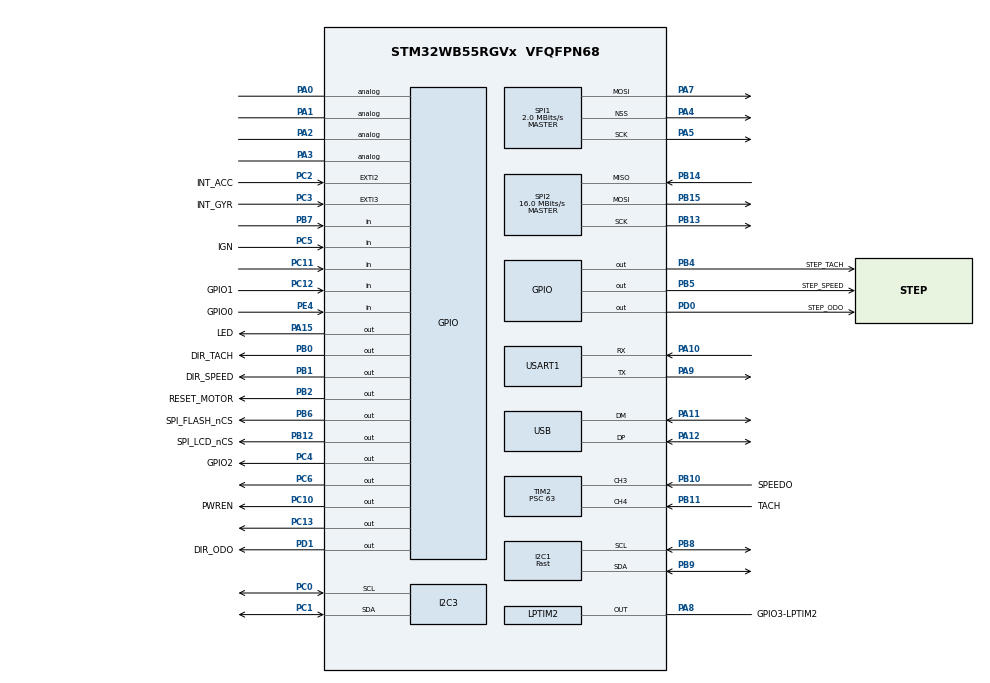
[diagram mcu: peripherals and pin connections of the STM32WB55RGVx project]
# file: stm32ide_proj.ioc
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Dma.MEMTOMEM.1.Direction=DMA_MEMORY_TO_MEMORY
Dma.MEMTOMEM.1.EventEnable=DISABLE
Dma.MEMTOMEM.1.Instance=DMA2_Channel1
Dma.MEMTOMEM.1.MemDataAlignment=DMA_MDATAALIGN_WORD
Dma.MEMTOMEM.1.MemInc=DMA_MINC_ENABLE
Dma.MEMTOMEM.1.Mode=DMA_NORMAL
Dma.MEMTOMEM.1.PeriphDataAlignment=DMA_PDATAALIGN_WORD
Dma.MEMTOMEM.1.PeriphInc=DMA_PINC_DISABLE
Dma.MEMTOMEM.1.Polarity=HAL_DMAMUX_REQ_GEN_RISING
Dma.MEMTOMEM.1.Priority=DMA_PRIORITY_LOW
Dma.MEMTOMEM.1.RequestNumber=1
Dma.MEMTOMEM.1.SignalID=NONE
Dma.MEMTOMEM.1.SyncEnable=DISABLE
Dma.MEMTOMEM.1.SyncPolarity=HAL_DMAMUX_SYNC_NO_EVENT
Dma.MEMTOMEM.1.SyncRequestNumber=1
Dma.MEMTOMEM.1.SyncSignalID=NONE
Dma.Request0=SPI2_TX
Dma.Request1=MEMTOMEM
Dma.Request2=TIM1_UP
Dma.SPI2_TX.0.Direction=DMA_MEMORY_TO_PERIPH
Dma.SPI2_TX.0.EventEnable=DISABLE
Dma.SPI2_TX.0.Instance=DMA1_Channel1
Dma.SPI2_TX.0.MemDataAlignment=DMA_MDATAALIGN_BYTE
Dma.SPI2_TX.0.MemInc=DMA_MINC_ENABLE
Dma.SPI2_TX.0.Mode=DMA_NORMAL
Dma.SPI2_TX.0.PeriphDataAlignment=DMA_PDATAALIGN_BYTE
Dma.SPI2_TX.0.PeriphInc=DMA_PINC_DISABLE
Dma.SPI2_TX.0.Polarity=HAL_DMAMUX_REQ_GEN_RISING
Dma.SPI2_TX.0.Priority=DMA_PRIORITY_LOW
Dma.SPI2_TX.0.RequestNumber=1
Dma.SPI2_TX.0.SignalID=NONE
Dma.SPI2_TX.0.SyncEnable=DISABLE
Dma.SPI2_TX.0.SyncPolarity=HAL_DMAMUX_SYNC_NO_EVENT
Dma.SPI2_TX.0.SyncRequestNumber=1
Dma.SPI2_TX.0.SyncSignalID=NONE
Dma.TIM1_UP.2.Direction=DMA_MEMORY_TO_PERIPH
Dma.TIM1_UP.2.EventEnable=DISABLE
Dma.TIM1_UP.2.Instance=DMA1_Channel2
Dma.TIM1_UP.2.MemDataAlignment=DMA_MDATAALIGN_HALFWORD
Dma.TIM1_UP.2.MemInc=DMA_MINC_ENABLE
Dma.TIM1_UP.2.Mode=DMA_CIRCULAR
Dma.TIM1_UP.2.PeriphDataAlignment=DMA_PDATAALIGN_HALFWORD
Dma.TIM1_UP.2.PeriphInc=DMA_PINC_DISABLE
Dma.TIM1_UP.2.Polarity=HAL_DMAMUX_REQ_GEN_RISING
Dma.TIM1_UP.2.Priority=DMA_PRIORITY_LOW
Dma.TIM1_UP.2.RequestNumber=1
Dma.TIM1_UP.2.SignalID=NONE
Dma.TIM1_UP.2.SyncEnable=DISABLE
Dma.TIM1_UP.2.SyncPolarity=HAL_DMAMUX_SYNC_NO_EVENT
Dma.TIM1_UP.2.SyncRequestNumber=1
Dma.TIM1_UP.2.SyncSignalID=NONE
I2C1.Analog_Filter=I2C_ANALOGFILTER_ENABLE
I2C1.CustomTiming=Disabled
I2C1.I2C_Speed_Mode=I2C_Fast
I2C1.NoStretchMode=I2C_NOSTRETCH_DISABLE
I2C1.Timing=0x00C12166
I2C3.Timing=0x10B17DB5
LPTIM2.ClockPrescaler=LPTIM_PRESCALER_DIV128
Mcu.Family=STM32WB
Mcu.Name=STM32WB55RGVx
Mcu.Package=VFQFPN68
NVIC.DMA1_Channel1_IRQn=true\:0\:0\:true\:false\:true\:false\:true\:true
NVIC.DMA1_Channel2_IRQn=true\:0\:0\:false\:false\:true\:false\:true\:true
NVIC.DMA2_Channel1_IRQn=true\:0\:0\:false\:false\:true\:true\:true\:true
NVIC.EXTI2_IRQn=true\:0\:0\:false\:false\:true\:true\:true\:true
NVIC.EXTI3_IRQn=true\:0\:0\:false\:false\:true\:true\:true\:true
NVIC.HSEM_IRQn=true\:0\:0\:false\:false\:true\:false\:true\:true
NVIC.I2C1_ER_IRQn=true\:0\:0\:false\:false\:true\:true\:true\:true
NVIC.I2C1_EV_IRQn=true\:0\:0\:false\:false\:true\:true\:true\:true
NVIC.I2C3_ER_IRQn=true\:0\:0\:false\:false\:true\:true\:true\:true
NVIC.I2C3_EV_IRQn=true\:0\:0\:false\:false\:true\:true\:true\:true
NVIC.IPCC_C1_RX_IRQn=true\:0\:0\:false\:false\:true\:true\:true\:true
NVIC.IPCC_C1_TX_IRQn=true\:0\:0\:false\:false\:true\:true\:true\:true
NVIC.PriorityGroup=NVIC_PRIORITYGROUP_4
NVIC.RCC_IRQn=true\:0\:0\:false\:false\:true\:true\:false\:true
NVIC.TIM1_TRG_COM_TIM17_IRQn=true\:1\:0\:true\:false\:true\:true\:true\:true
NVIC.TIM1_UP_TIM16_IRQn=true\:0\:0\:true\:false\:true\:true\:true\:true
NVIC.TIM2_IRQn=true\:0\:0\:true\:false\:true\:true\:true\:true
NVIC.USART1_IRQn=true\:0\:0\:false\:false\:true\:true\:true\:true
NVIC.USB_LP_IRQn=true\:0\:0\:false\:false\:true\:false\:true\:true
OSC_IN.Mode=HSE-External-Oscillator
OSC_IN.Signal=RCC_OSC_IN
OSC_OUT.Mode=HSE-External-Oscillator
OSC_OUT.Signal=RCC_OSC_OUT
PA0.Signal=SharedAnalog_PA0
PA1.Signal=SharedAnalog_PA1
PA10.Mode=Asynchronous
PA10.Signal=USART1_RX
PA11.Mode=Device
PA11.Signal=USB_DM
PA12.Mode=Device
PA12.Signal=USB_DP
PA13.Mode=Trace_Asynchronous_SW
PA13.Signal=SYS_JTMS-SWDIO
PA14.Mode=Trace_Asynchronous_SW
PA14.Signal=SYS_JTCK-SWCLK
PA15.GPIO_Label=LED
PA15.Signal=GPIO_Output
PA2.Signal=SharedAnalog_PA2
PA3.Signal=SharedAnalog_PA3
PA4.GPIO_PuPd=GPIO_NOPULL
PA4.Mode=NSS_Signal_Hard_Output
PA4.Signal=SPI1_NSS
PA5.Mode=TX_Only_Simplex_Unidirect_Master
PA5.Signal=SPI1_SCK
PA6.Signal=SPI1_MISO
PA7.Mode=TX_Only_Simplex_Unidirect_Master
PA7.Signal=SPI1_MOSI
PA8.GPIO_Label=GPIO3-LPTIM2
PA8.GPIO_PuPd=GPIO_NOPULL
PA8.Mode=WaveformGeneration
PA8.Signal=LPTIM2_OUT
PA9.Mode=Asynchronous
PA9.Signal=USART1_TX
PB0.GPIO_Label=DIR_TACH
PB0.Signal=GPIO_Output
PB1.GPIO_Label=DIR_SPEED
PB1.Signal=GPIO_Output
PB10.GPIO_Label=SPEEDO
PB10.Signal=S_TIM2_CH3
PB11.GPIO_Label=TACH
PB11.Signal=S_TIM2_CH4
PB12.GPIO_Label=SPI_LCD_nCS
PB12.Signal=GPIO_Output
PB13.Mode=Full_Duplex_Master
PB13.Signal=SPI2_SCK
PB14.Mode=Full_Duplex_Master
PB14.Signal=SPI2_MISO
PB15.Mode=Full_Duplex_Master
PB15.Signal=SPI2_MOSI
PB2.GPIO_Label=RESET_MOTOR
PB2.Signal=GPIO_Output
PB3.Mode=Trace_Asynchronous_SW
PB3.Signal=SYS_JTDO-SWO
PB4.GPIO_Label=STEP_TACH
PB4.GPIO_Speed=GPIO_SPEED_FREQ_LOW
PB4.Signal=GPIO_Output
PB5.GPIO_Label=STEP_SPEED
PB5.GPIO_Speed=GPIO_SPEED_FREQ_LOW
PB5.Signal=GPIO_Output
PB6.GPIO_Label=SPI_FLASH_nCS
PB6.Signal=GPIO_Output
PB7.Signal=GPIO_Input
PB8.GPIO_Pu=GPIO_NOPULL
PB8.GPIO_Speed=GPIO_SPEED_FREQ_LOW
PB8.Mode=I2C
PB8.Signal=I2C1_SCL
PB9.GPIO_Pu=GPIO_NOPULL
PB9.GPIO_Speed=GPIO_SPEED_FREQ_LOW
PB9.Mode=I2C
PB9.Signal=I2C1_SDA
PC0.Mode=I2C
PC0.Signal=I2C3_SCL
PC1.Mode=I2C
PC1.Signal=I2C3_SDA
PC10.GPIO_Label=PWREN
PC10.Signal=GPIO_Output
PC11.Signal=GPIO_Input
PC12.GPIO_Label=GPIO1
PC12.Signal=GPIO_Input
PC13.Signal=GPIO_Output
PC14-OSC32_IN.Mode=LSE-External-Oscillator
PC14-OSC32_IN.Signal=RCC_OSC32_IN
PC15-OSC32_OUT.Mode=LSE-External-Oscillator
PC15-OSC32_OUT.Signal=RCC_OSC32_OUT
PC2.GPIO_Label=INT_ACC
PC2.Signal=GPXTI2
PC3.GPIO_Label=INT_GYR
PC3.Signal=GPXTI3
PC4.GPIO_Label=GPIO2
PC4.Signal=GPIO_Output
PC5.GPIO_Label=IGN
PC5.GPIO_PuPd=GPIO_PULLDOWN
PC5.Signal=GPIO_Input
PC6.Signal=GPIO_Output
PD0.GPIO_Label=STEP_ODO
PD0.Signal=GPIO_Output
PD1.GPIO_Label=DIR_ODO
PD1.Signal=GPIO_Output
PE4.GPIO_Label=GPIO0
PE4.Signal=GPIO_Input
ProjectManager.HeapSize=0x200
ProjectManager.StackSize=0x600
ProjectManager.TargetToolchain=STM32CubeIDE
RCC.ADCFreq_Value=48000000
RCC.AHB2CLKDivider=RCC_SYSCLK_DIV2
RCC.AHBFreq_Value=64000000
RCC.APB1Freq_Value=64000000
RCC.APB1TimFreq_Value=64000000
RCC.APB2Freq_Value=64000000
RCC.APB2TimFreq_Value=64000000
RCC.APB3Freq_Value=16000000
RCC.Cortex2_Div=SYSTICK_CLKSOURCE_HCLK_DIV8
RCC.CortexFreq_Value=64000000
RCC.HCLKFreq_Value=64000000
RCC.HSE_VALUE=32000000
RCC.HSI48_VALUE=48000000
RCC.HSI_VALUE=16000000
RCC.PLLN=32
RCC.PLLSAI1N=24
RCC.RTCClockSelection=RCC_RTCCLKSOURCE_LSE
RCC.SYSCLKFreq_VALUE=64000000
RCC.SYSCLKSource=RCC_SYSCLKSOURCE_PLLCLK
RCC.USBFreq_Value=48000000
RCC.VCOOutputFreq_Value=128000000
RF1.Mode=RF1_Activate
RF1.Signal=RF_RF1
SH.S_TIM2_CH3.0=TIM2_CH3,Input_Capture3_from_TI3
SH.S_TIM2_CH4.0=TIM2_CH4,Input_Capture4_from_TI4
SH.SharedAnalog_PA0.0=GPIO_Analog
SH.SharedAnalog_PA0.1=ADC1_IN5
SH.SharedAnalog_PA1.0=GPIO_Analog
SH.SharedAnalog_PA1.1=ADC1_IN6
SH.SharedAnalog_PA2.0=GPIO_Analog
SH.SharedAnalog_PA2.1=ADC1_IN7
SH.SharedAnalog_PA3.0=GPIO_Analog
SH.SharedAnalog_PA3.1=ADC1_IN8
SPI1.BaudRatePrescaler=SPI_BAUDRATEPRESCALER_32
SPI1.CLKPhase=SPI_PHASE_1EDGE
SPI1.CLKPolarity=SPI_POLARITY_LOW
SPI1.CalculateBaudRate=2.0 MBits/s
SPI1.DataSize=SPI_DATASIZE_16BIT
SPI1.Direction=SPI_DIRECTION_2LINES
SPI1.Mode=SPI_MODE_MASTER
SPI1.VirtualNSS=VM_NSSHARD
SPI1.VirtualType=VM_MASTER
SPI2.BaudRatePrescaler=SPI_BAUDRATEPRESCALER_4
SPI2.CLKPhase=SPI_PHASE_2EDGE
SPI2.CLKPolarity=SPI_POLARITY_HIGH
SPI2.CRCCalculation=SPI_CRCCALCULATION_DISABLE
SPI2.CalculateBaudRate=16.0 MBits/s
SPI2.DataSize=SPI_DATASIZE_8BIT
SPI2.Direction=SPI_DIRECTION_2LINES
SPI2.Mode=SPI_MODE_MASTER
SPI2.VirtualType=VM_MASTER
STM32_WPAN.AD_TYPE_COMPLETE_LOCAL_NAME=3000GT__
STM32_WPAN.AD_TYPE_MANUFACTURER_DATA_1=00
STM32_WPAN.AD_TYPE_MANUFACTURER_DATA_2=00
STM32_WPAN.AD_TYPE_MANUFACTURER_DATA_3=00
STM32_WPAN.AD_TYPE_MANUFACTURER_DATA_4=00
STM32_WPAN.AD_TYPE_MANUFACTURER_DATA_COMMENT_1=SDK VERSION
STM32_WPAN.AD_TYPE_MANUFACTURER_DATA_COMMENT_2=DEVID
STM32_WPAN.AD_TYPE_MANUFACTURER_DATA_COMMENT_3=FIRMWAREID
STM32_WPAN.AD_TYPE_MANUFACTURER_DATA_COMMENT_4=feature 0
STM32_WPAN.AD_TYPE_MANUFACTURER_DATA_COMMENT_5=feature 1
STM32_WPAN.AD_TYPE_MANUFACTURER_DATA_COMMENT_6=feature 2
STM32_WPAN.AD_TYPE_MANUFACTURER_DATA_COMMENT_7=feature 3
STM32_WPAN.AD_TYPE_MANUFACTURER_DATA_NBR=4
STM32_WPAN.AD_TYPE_MANUFACTURER_SPECIFIC_DATA_COMPANY_IDENTIFIER=01,83
STM32_WPAN.CFG_LSCLK_LSE=0
STM32_WPAN.CUSTOM_P2P_SERVER=Disabled
STM32_WPAN.CUSTOM_TEMPLATE=Enabled
STM32_WPAN.INCLUDE_AD_TYPE_COMPLETE_LOCAL_NAME=1
STM32_WPAN.INCLUDE_AD_TYPE_MANUFACTURER_SPECIFIC_DATA=1
STM32_WPAN.NUMBER_OF_SERVICES=3
STM32_WPAN.SERVICE1_CHAR1_GATT_NOTIFY_READ_REQ_AND_WAIT_FOR_APPL_RESP=\ 
STM32_WPAN.SERVICE1_CHAR1_GATT_NOTIFY_WRITE_REQ_AND_WAIT_FOR_APPL_RESP=\ 
STM32_WPAN.SERVICE1_CHAR1_LENGTH_CHARACTERISTIC=CHAR_VALUE_LEN_CONSTANT
STM32_WPAN.SERVICE1_CHAR1_LONG_NAME=buttonPress
STM32_WPAN.SERVICE1_CHAR1_PROP_WRITE=CHAR_PROP_WRITE
STM32_WPAN.SERVICE1_CHAR1_SHORT_NAME=buttonPress
STM32_WPAN.SERVICE1_CHAR1_UUID=00 01
STM32_WPAN.SERVICE1_CHAR1_UUID_TYPE=0x02
STM32_WPAN.SERVICE1_CHAR1_VALUE_LENGTH=20
STM32_WPAN.SERVICE1_CHAR2_GATT_NOTIFY_ATTRIBUTE_WRITE=\ 
STM32_WPAN.SERVICE1_CHAR2_GATT_NOTIFY_READ_REQ_AND_WAIT_FOR_APPL_RESP=GATT_NOTIFY_READ_REQ_AND_WAIT_FOR_APPL_RESP
STM32_WPAN.SERVICE1_CHAR2_GATT_NOTIFY_WRITE_REQ_AND_WAIT_FOR_APPL_RESP=\ 
STM32_WPAN.SERVICE1_CHAR2_LENGTH_CHARACTERISTIC=CHAR_VALUE_LEN_VARIABLE
STM32_WPAN.SERVICE1_CHAR2_LONG_NAME=readChar
STM32_WPAN.SERVICE1_CHAR2_PROP_READ=CHAR_PROP_READ
STM32_WPAN.SERVICE1_CHAR2_SHORT_NAME=readChar
STM32_WPAN.SERVICE1_CHAR2_VALUE_LENGTH=128
STM32_WPAN.SERVICE1_LONG_NAME=UserButtonService
STM32_WPAN.SERVICE1_NUMBER_OF_CHARACTERISTICS=1
STM32_WPAN.SERVICE1_SHORT_NAME=UserButtonService
STM32_WPAN.SERVICE1_UUID_TYPE=0x02
STM32_WPAN.SERVICE2_CHAR1_GATT_NOTIFY_ATTRIBUTE_WRITE=\ 
STM32_WPAN.SERVICE2_CHAR1_GATT_NOTIFY_READ_REQ_AND_WAIT_FOR_APPL_RESP=\ 
STM32_WPAN.SERVICE2_CHAR1_GATT_NOTIFY_WRITE_REQ_AND_WAIT_FOR_APPL_RESP=\ 
STM32_WPAN.SERVICE2_CHAR1_LONG_NAME=readNext
STM32_WPAN.SERVICE2_CHAR1_PROP_NOTIFY=CHAR_PROP_NOTIFY
STM32_WPAN.SERVICE2_CHAR1_PROP_READ=CHAR_PROP_READ
STM32_WPAN.SERVICE2_CHAR1_SHORT_NAME=readNext
STM32_WPAN.SERVICE2_CHAR1_UUID=00 03
STM32_WPAN.SERVICE2_CHAR1_VALUE_LENGTH=64
STM32_WPAN.SERVICE2_LONG_NAME=ClientReadService
STM32_WPAN.SERVICE2_SHORT_NAME=ClientReadService
STM32_WPAN.SERVICE2_UUID=00 02
STM32_WPAN.SERVICE2_UUID_TYPE=0x02
STM32_WPAN.SERVICE3_CHAR1_GATT_NOTIFY_READ_REQ_AND_WAIT_FOR_APPL_RESP=\ 
STM32_WPAN.SERVICE3_CHAR1_GATT_NOTIFY_WRITE_REQ_AND_WAIT_FOR_APPL_RESP=\ 
STM32_WPAN.SERVICE3_CHAR1_LONG_NAME=BM_REQ_CHAR
STM32_WPAN.SERVICE3_CHAR1_PROP_WRITE=CHAR_PROP_WRITE
STM32_WPAN.SERVICE3_CHAR1_SHORT_NAME=BM_REQ_CHAR
STM32_WPAN.SERVICE3_CHAR1_UUID=00 00 FE 11 8E 22 45 41 9D 4C 21 ED AE 82 ED 19
STM32_WPAN.SERVICE3_CHAR1_UUID_128_INPUT_TYPE=1
STM32_WPAN.SERVICE3_CHAR1_VALUE_LENGTH=3
STM32_WPAN.SERVICE3_LONG_NAME=RebootReqService
STM32_WPAN.SERVICE3_SHORT_NAME=RebootReqService
STM32_WPAN.SERVICE3_UUID=0A 00
STM32_WPAN.SERVICE3_UUID_128_INPUT_TYPE=0
TIM1.AutoReloadPreload=TIM_AUTORELOAD_PRELOAD_ENABLE
TIM1.Period=6399
TIM1.Prescaler=0
TIM16.AutoReloadPreload=TIM_AUTORELOAD_PRELOAD_ENABLE
TIM16.Period=31999
TIM16.Prescaler=0
TIM17.AutoReloadPreload=TIM_AUTORELOAD_PRELOAD_DISABLE
TIM17.Period=1000
TIM17.Prescaler=63
TIM2.AutoReloadPreload=TIM_AUTORELOAD_PRELOAD_DISABLE
TIM2.Channel-Input_Capture3_from_TI3=TIM_CHANNEL_3
TIM2.Channel-Input_Capture4_from_TI4=TIM_CHANNEL_4
TIM2.CounterMode=TIM_COUNTERMODE_UP
TIM2.ICFilter_CH3=15
TIM2.ICFilter_CH4=15
TIM2.ICPolarity_CH3=TIM_INPUTCHANNELPOLARITY_FALLING
TIM2.ICPolarity_CH4=TIM_INPUTCHANNELPOLARITY_FALLING
TIM2.Period=0xffffffff-1
TIM2.Prescaler=63
USART1.AutoBaudRateEnableParam=UART_ADVFEATURE_AUTOBAUDRATE_ENABLE
USART1.DataInvertParam=ADVFEATURE_DATAINV_DISABLE
USART1.RxPinLevelInvertParam=ADVFEATURE_RXINV_ENABLE
USART1.TxPinLevelInvertParam=ADVFEATURE_TXINV_ENABLE
USART1.VirtualMode-Asynchronous=VM_ASYNC
USART1.VirtualMode-SmartCard=VM_SMARTCARD
USB_DEVICE.CLASS_NAME_FS=CDC
USB_DEVICE.VirtualMode=Cdc
USB_DEVICE.VirtualModeFS=Cdc_FS
VP_HSEM_VS_HSEM.Mode=HSEM_Activate
VP_IPCC_VS_IPCC.Mode=IPCC_Activate
VP_LPTIM2_VS_LPTIM_counterModeInternalClock.Mode=Counts__internal_clock_event_00
VP_MEMORYMAP_VS_MEMORYMAP.Mode=CurAppReg
VP_RTC_VS_RTC_Activate.Mode=RTC_Enabled
VP_RTC_VS_RTC_WakeUp_intern.Mode=WakeUp
VP_SEQUENCER_VS_SEQUENCER.Mode=SEQUENCER_Enabled
VP_STM32_WPAN_VS_BLE_HOST.Mode=STM32_WPAN_Enabled
VP_SYS_V_PVD_IN.Mode=Mode_PVD_Int
VP_TIM16_VS_ClockSourceINT.Mode=Enable_Timer
VP_TIM17_VS_ClockSourceINT.Mode=Enable_Timer
VP_TIM1_VS_ClockSourceINT.Mode=Internal
VP_TIM2_VS_ClockSourceINT.Mode=Internal
VP_TINY_LPM_VS_TINY_LPM.Mode=TINY_LPM_Enabled
VP_USB_DEVICE_VS_USB_DEVICE_CDC_FS.Mode=CDC_FS
board=custom

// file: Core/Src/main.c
/* USER CODE BEGIN Header */
/**
  ******************************************************************************
  * @file           : main.c
  * @brief          : Main program body
  ******************************************************************************
  * @attention
  *
  * Copyright (c) 2024 STMicroelectronics.
  * All rights reserved.
  *
  * This software is licensed under terms that can be found in the LICENSE file
  * in the root directory of this software component.
  * If no LICENSE file comes with this software, it is provided AS-IS.
  *
  ******************************************************************************
  */
/* USER CODE END Header */
#include "main.h"
#include "usb_device.h"

/* USER CODE BEGIN Includes */
#include "usbd_cdc_if.h"
/* USER CODE END Includes */

I2C_HandleTypeDef hi2c1;
I2C_HandleTypeDef hi2c3;

IPCC_HandleTypeDef hipcc;

LPTIM_HandleTypeDef hlptim2;

RTC_HandleTypeDef hrtc;

SPI_HandleTypeDef hspi1;
SPI_HandleTypeDef hspi2;
DMA_HandleTypeDef hdma_spi2_tx;

TIM_HandleTypeDef htim1;
TIM_HandleTypeDef htim2;
TIM_HandleTypeDef htim16;
TIM_HandleTypeDef htim17;
DMA_HandleTypeDef hdma_tim1_up;

UART_HandleTypeDef huart1;

DMA_HandleTypeDef hdma_memtomem_dma2_channel1;
/* USER CODE BEGIN PV */
extern void main_cpp();
/* USER CODE END PV */

void SystemClock_Config(void);
void PeriphCommonClock_Config(void);
static void MX_GPIO_Init(void);
static void MX_DMA_Init(void);
static void MX_I2C1_Init(void);
static void MX_TIM2_Init(void);
static void MX_TIM16_Init(void);
static void MX_SPI2_Init(void);
static void MX_I2C3_Init(void);
static void MX_USART1_UART_Init(void);
static void MX_RTC_Init(void);
static void MX_IPCC_Init(void);
static void MX_TIM17_Init(void);
static void MX_SPI1_Init(void);
static void MX_TIM1_Init(void);
static void MX_LPTIM2_Init(void);
static void MX_RF_Init(void);

/* USER CODE BEGIN 0 */

void My_MX_USART1_UART_DeInit ()
{
  HAL_UART_DeInit (&huart1);

  GPIO_InitTypeDef GPIO_InitStruct =  { 0 };

  // PA9, uart tx
  GPIO_InitStruct.Pin = GPIO_PIN_9;
  GPIO_InitStruct.Mode = GPIO_MODE_OUTPUT_PP;
  GPIO_InitStruct.Pull = GPIO_PULLDOWN;
  HAL_GPIO_Init (GPIOA, &GPIO_InitStruct);

  // PA10, uart tx
  GPIO_InitStruct.Pin = GPIO_PIN_10;
  GPIO_InitStruct.Mode = GPIO_MODE_INPUT;
  GPIO_InitStruct.Pull = GPIO_NOPULL;
  HAL_GPIO_Init (GPIOA, &GPIO_InitStruct);
}

void My_MX_USART1_UART_Init(int baudrate)
{
  /*
   * this is a copy of the code that the HAL automatically generates.
   *
   * but we made our own version becuase we want to control the baud rate.
   */
  if(baudrate)
  {
    huart1.Instance = USART1;
    huart1.Init.BaudRate = baudrate;
    huart1.Init.WordLength = UART_WORDLENGTH_8B;
    huart1.Init.StopBits = UART_STOPBITS_1;
    huart1.Init.Parity = UART_PARITY_NONE;
    huart1.Init.Mode = UART_MODE_TX_RX;
    huart1.Init.HwFlowCtl = UART_HWCONTROL_NONE;
    huart1.Init.OverSampling = UART_OVERSAMPLING_16;
    huart1.Init.OneBitSampling = UART_ONE_BIT_SAMPLE_DISABLE;
    huart1.Init.ClockPrescaler = UART_PRESCALER_DIV1;
    huart1.AdvancedInit.AdvFeatureInit = UART_ADVFEATURE_TXINVERT_INIT|UART_ADVFEATURE_RXINVERT_INIT;
    huart1.AdvancedInit.TxPinLevelInvert = UART_ADVFEATURE_TXINV_ENABLE;
    huart1.AdvancedInit.RxPinLevelInvert = UART_ADVFEATURE_RXINV_ENABLE;
    if (HAL_UART_Init(&huart1) != HAL_OK)
    {
      Error_Handler();
    }
    if (HAL_UARTEx_SetTxFifoThreshold(&huart1, UART_TXFIFO_THRESHOLD_1_8) != HAL_OK)
    {
      Error_Handler();
    }
    if (HAL_UARTEx_SetRxFifoThreshold(&huart1, UART_RXFIFO_THRESHOLD_1_8) != HAL_OK)
    {
      Error_Handler();
    }
    if (HAL_UARTEx_DisableFifoMode(&huart1) != HAL_OK)
    {
      Error_Handler();
    }
  }
  else
  {
    huart1.Instance = USART1;
    huart1.Init.BaudRate = 115200;
    huart1.Init.WordLength = UART_WORDLENGTH_8B;
    huart1.Init.StopBits = UART_STOPBITS_1;
    huart1.Init.Parity = UART_PARITY_NONE;
    huart1.Init.Mode = UART_MODE_TX_RX;
    huart1.Init.HwFlowCtl = UART_HWCONTROL_NONE;
    huart1.Init.OverSampling = UART_OVERSAMPLING_16;
    huart1.Init.OneBitSampling = UART_ONE_BIT_SAMPLE_DISABLE;
    huart1.Init.ClockPrescaler = UART_PRESCALER_DIV1;
    huart1.AdvancedInit.AdvFeatureInit = UART_ADVFEATURE_TXINVERT_INIT|UART_ADVFEATURE_RXINVERT_INIT
                                |UART_ADVFEATURE_AUTOBAUDRATE_INIT;
    huart1.AdvancedInit.TxPinLevelInvert = UART_ADVFEATURE_TXINV_ENABLE;
    huart1.AdvancedInit.RxPinLevelInvert = UART_ADVFEATURE_RXINV_ENABLE;
    huart1.AdvancedInit.AutoBaudRateEnable = UART_ADVFEATURE_AUTOBAUDRATE_ENABLE;
    huart1.AdvancedInit.AutoBaudRateMode = UART_ADVFEATURE_AUTOBAUDRATE_ONSTARTBIT;
    if (HAL_UART_Init(&huart1) != HAL_OK)
    {
      Error_Handler();
    }
    if (HAL_UARTEx_SetTxFifoThreshold(&huart1, UART_TXFIFO_THRESHOLD_1_8) != HAL_OK)
    {
      Error_Handler();
    }
    if (HAL_UARTEx_SetRxFifoThreshold(&huart1, UART_RXFIFO_THRESHOLD_1_8) != HAL_OK)
    {
      Error_Handler();
    }
    if (HAL_UARTEx_DisableFifoMode(&huart1) != HAL_OK)
    {
      Error_Handler();
    }
  }

}

/* USER CODE END 0 */

int main(void)
{

  /* MCU Configuration--------------------------------------------------------*/

  /* Reset of all peripherals, Initializes the Flash interface and the Systick. */
  HAL_Init();
  /* Config code for STM32_WPAN (HSE Tuning must be done before system clock configuration) */
  MX_APPE_Config();

  /* USER CODE BEGIN Init */

  // allow BLE and USB to coexist
  //https://community.st.com/t5/stm32-mcus-wireless/enabeling-usb-and-ble-on-stm32wb55/td-p/607928
  LL_HSEM_1StepLock(HSEM, CFG_HW_CLK48_CONFIG_SEMID);
  /*
   * uncomment this code to reset the backup domain,
   * which ive had get locked up becuase of CSS.
   */
//  LL_PWR_EnableBkUpAccess ();
//  LL_RCC_ForceBackupDomainReset ();
//  LL_RCC_ReleaseBackupDomainReset ();
  /* USER CODE END Init */

  /* Configure the system clock */
  SystemClock_Config();

  /* Configure the peripherals common clocks */
  PeriphCommonClock_Config();

  /* IPCC initialisation */
  MX_IPCC_Init();

  /* Initialize all configured peripherals */
  MX_GPIO_Init();
  MX_DMA_Init();
  MX_I2C1_Init();
  MX_TIM2_Init();
  MX_TIM16_Init();
  MX_SPI2_Init();
  MX_I2C3_Init();
  MX_USART1_UART_Init();
  MX_RTC_Init();
  MX_TIM17_Init();
  MX_SPI1_Init();
  MX_TIM1_Init();
  MX_USB_Device_Init();
  MX_LPTIM2_Init();
  MX_RF_Init();

  /* Init code for STM32_WPAN */
  MX_APPE_Init();

  /* Infinite loop */
  /* USER CODE BEGIN WHILE */
  main_cpp();
  while (1)
  {
    /* USER CODE END WHILE */
    MX_APPE_Process();

  }
}

void SystemClock_Config(void)
{
  RCC_OscInitTypeDef RCC_OscInitStruct = {0};
  RCC_ClkInitTypeDef RCC_ClkInitStruct = {0};

  /** Configure LSE Drive Capability
  */
  HAL_PWR_EnableBkUpAccess();
  __HAL_RCC_LSEDRIVE_CONFIG(RCC_LSEDRIVE_MEDIUMHIGH);

  /** Configure the main internal regulator output voltage
  */
  __HAL_PWR_VOLTAGESCALING_CONFIG(PWR_REGULATOR_VOLTAGE_SCALE1);

  /** Initializes the RCC Oscillators according to the specified parameters
  * in the RCC_OscInitTypeDef structure.
  */
  RCC_OscInitStruct.OscillatorType = RCC_OSCILLATORTYPE_HSI|RCC_OSCILLATORTYPE_HSE
                              |RCC_OSCILLATORTYPE_LSE|RCC_OSCILLATORTYPE_MSI;
  RCC_OscInitStruct.HSEState = RCC_HSE_ON;
  RCC_OscInitStruct.LSEState = RCC_LSE_ON;
  RCC_OscInitStruct.HSIState = RCC_HSI_ON;
  RCC_OscInitStruct.MSIState = RCC_MSI_ON;
  RCC_OscInitStruct.HSICalibrationValue = RCC_HSICALIBRATION_DEFAULT;
  RCC_OscInitStruct.MSICalibrationValue = RCC_MSICALIBRATION_DEFAULT;
  RCC_OscInitStruct.MSIClockRange = RCC_MSIRANGE_6;
  RCC_OscInitStruct.PLL.PLLState = RCC_PLL_ON;
  RCC_OscInitStruct.PLL.PLLSource = RCC_PLLSOURCE_MSI;
  RCC_OscInitStruct.PLL.PLLM = RCC_PLLM_DIV1;
  RCC_OscInitStruct.PLL.PLLN = 32;
  RCC_OscInitStruct.PLL.PLLP = RCC_PLLP_DIV2;
  RCC_OscInitStruct.PLL.PLLR = RCC_PLLR_DIV2;
  RCC_OscInitStruct.PLL.PLLQ = RCC_PLLQ_DIV2;
  if (HAL_RCC_OscConfig(&RCC_OscInitStruct) != HAL_OK)
  {
    Error_Handler();
  }

  /** Configure the SYSCLKSource, HCLK, PCLK1 and PCLK2 clocks dividers
  */
  RCC_ClkInitStruct.ClockType = RCC_CLOCKTYPE_HCLK4|RCC_CLOCKTYPE_HCLK2
                              |RCC_CLOCKTYPE_HCLK|RCC_CLOCKTYPE_SYSCLK
                              |RCC_CLOCKTYPE_PCLK1|RCC_CLOCKTYPE_PCLK2;
  RCC_ClkInitStruct.SYSCLKSource = RCC_SYSCLKSOURCE_PLLCLK;
  RCC_ClkInitStruct.AHBCLKDivider = RCC_SYSCLK_DIV1;
  RCC_ClkInitStruct.APB1CLKDivider = RCC_HCLK_DIV1;
  RCC_ClkInitStruct.APB2CLKDivider = RCC_HCLK_DIV1;
  RCC_ClkInitStruct.AHBCLK2Divider = RCC_SYSCLK_DIV2;
  RCC_ClkInitStruct.AHBCLK4Divider = RCC_SYSCLK_DIV1;

  if (HAL_RCC_ClockConfig(&RCC_ClkInitStruct, FLASH_LATENCY_3) != HAL_OK)
  {
    Error_Handler();
  }

  /** Enable MSI Auto calibration
  */
  HAL_RCCEx_EnableMSIPLLMode();
}

void PeriphCommonClock_Config(void)
{
  RCC_PeriphCLKInitTypeDef PeriphClkInitStruct = {0};

  /** Initializes the peripherals clock
  */
  PeriphClkInitStruct.PeriphClockSelection = RCC_PERIPHCLK_SMPS|RCC_PERIPHCLK_RFWAKEUP;
  PeriphClkInitStruct.RFWakeUpClockSelection = RCC_RFWKPCLKSOURCE_HSE_DIV1024;
  PeriphClkInitStruct.SmpsClockSelection = RCC_SMPSCLKSOURCE_HSI;
  PeriphClkInitStruct.SmpsDivSelection = RCC_SMPSCLKDIV_RANGE1;

  if (HAL_RCCEx_PeriphCLKConfig(&PeriphClkInitStruct) != HAL_OK)
  {
    Error_Handler();
  }
  /* USER CODE BEGIN Smps */
//#ifndef CLOCK_FIX
//#error need to add clock fix
//   #define CLOCK_FIX
//   LL_HSEM_1StepLock( HSEM, 5 );
//#endif
  /* USER CODE END Smps */
}

static void MX_I2C1_Init(void)
{

  hi2c1.Instance = I2C1;
  hi2c1.Init.Timing = 0x00C12166;
  hi2c1.Init.OwnAddress1 = 0;
  hi2c1.Init.AddressingMode = I2C_ADDRESSINGMODE_7BIT;
  hi2c1.Init.DualAddressMode = I2C_DUALADDRESS_DISABLE;
  hi2c1.Init.OwnAddress2 = 0;
  hi2c1.Init.OwnAddress2Masks = I2C_OA2_NOMASK;
  hi2c1.Init.GeneralCallMode = I2C_GENERALCALL_DISABLE;
  hi2c1.Init.NoStretchMode = I2C_NOSTRETCH_DISABLE;
  if (HAL_I2C_Init(&hi2c1) != HAL_OK)
  {
    Error_Handler();
  }

  /** Configure Analogue filter
  */
  if (HAL_I2CEx_ConfigAnalogFilter(&hi2c1, I2C_ANALOGFILTER_ENABLE) != HAL_OK)
  {
    Error_Handler();
  }

  /** Configure Digital filter
  */
  if (HAL_I2CEx_ConfigDigitalFilter(&hi2c1, 0) != HAL_OK)
  {
    Error_Handler();
  }

}

static void MX_I2C3_Init(void)
{

  hi2c3.Instance = I2C3;
  hi2c3.Init.Timing = 0x10B17DB5;
  hi2c3.Init.OwnAddress1 = 0;
  hi2c3.Init.AddressingMode = I2C_ADDRESSINGMODE_7BIT;
  hi2c3.Init.DualAddressMode = I2C_DUALADDRESS_DISABLE;
  hi2c3.Init.OwnAddress2 = 0;
  hi2c3.Init.OwnAddress2Masks = I2C_OA2_NOMASK;
  hi2c3.Init.GeneralCallMode = I2C_GENERALCALL_DISABLE;
  hi2c3.Init.NoStretchMode = I2C_NOSTRETCH_DISABLE;
  if (HAL_I2C_Init(&hi2c3) != HAL_OK)
  {
    Error_Handler();
  }

  /** Configure Analogue filter
  */
  if (HAL_I2CEx_ConfigAnalogFilter(&hi2c3, I2C_ANALOGFILTER_ENABLE) != HAL_OK)
  {
    Error_Handler();
  }

  /** Configure Digital filter
  */
  if (HAL_I2CEx_ConfigDigitalFilter(&hi2c3, 0) != HAL_OK)
  {
    Error_Handler();
  }

}

static void MX_IPCC_Init(void)
{

  hipcc.Instance = IPCC;
  if (HAL_IPCC_Init(&hipcc) != HAL_OK)
  {
    Error_Handler();
  }

}

static void MX_LPTIM2_Init(void)
{

  hlptim2.Instance = LPTIM2;
  hlptim2.Init.Clock.Source = LPTIM_CLOCKSOURCE_APBCLOCK_LPOSC;
  hlptim2.Init.Clock.Prescaler = LPTIM_PRESCALER_DIV128;
  hlptim2.Init.Trigger.Source = LPTIM_TRIGSOURCE_SOFTWARE;
  hlptim2.Init.OutputPolarity = LPTIM_OUTPUTPOLARITY_HIGH;
  hlptim2.Init.UpdateMode = LPTIM_UPDATE_IMMEDIATE;
  hlptim2.Init.CounterSource = LPTIM_COUNTERSOURCE_INTERNAL;
  hlptim2.Init.Input1Source = LPTIM_INPUT1SOURCE_GPIO;
  hlptim2.Init.Input2Source = LPTIM_INPUT2SOURCE_GPIO;
  if (HAL_LPTIM_Init(&hlptim2) != HAL_OK)
  {
    Error_Handler();
  }

}

static void MX_RF_Init(void)
{

}

static void MX_RTC_Init(void)
{

  /** Initialize RTC Only
  */
  hrtc.Instance = RTC;
  hrtc.Init.HourFormat = RTC_HOURFORMAT_24;
  hrtc.Init.AsynchPrediv = CFG_RTC_ASYNCH_PRESCALER;
  hrtc.Init.SynchPrediv = CFG_RTC_SYNCH_PRESCALER;
  hrtc.Init.OutPut = RTC_OUTPUT_DISABLE;
  hrtc.Init.OutPutPolarity = RTC_OUTPUT_POLARITY_HIGH;
  hrtc.Init.OutPutType = RTC_OUTPUT_TYPE_OPENDRAIN;
  hrtc.Init.OutPutRemap = RTC_OUTPUT_REMAP_NONE;
  if (HAL_RTC_Init(&hrtc) != HAL_OK)
  {
    Error_Handler();
  }

  /** Enable the WakeUp
  */
  if (HAL_RTCEx_SetWakeUpTimer(&hrtc, 0, RTC_WAKEUPCLOCK_RTCCLK_DIV16) != HAL_OK)
  {
    Error_Handler();
  }

}

static void MX_SPI1_Init(void)
{

  /* SPI1 parameter configuration*/
  hspi1.Instance = SPI1;
  hspi1.Init.Mode = SPI_MODE_MASTER;
  hspi1.Init.Direction = SPI_DIRECTION_2LINES;
  hspi1.Init.DataSize = SPI_DATASIZE_16BIT;
  hspi1.Init.CLKPolarity = SPI_POLARITY_LOW;
  hspi1.Init.CLKPhase = SPI_PHASE_1EDGE;
  hspi1.Init.NSS = SPI_NSS_HARD_OUTPUT;
  hspi1.Init.BaudRatePrescaler = SPI_BAUDRATEPRESCALER_32;
  hspi1.Init.FirstBit = SPI_FIRSTBIT_MSB;
  hspi1.Init.TIMode = SPI_TIMODE_DISABLE;
  hspi1.Init.CRCCalculation = SPI_CRCCALCULATION_DISABLE;
  hspi1.Init.CRCPolynomial = 7;
  hspi1.Init.CRCLength = SPI_CRC_LENGTH_DATASIZE;
  hspi1.Init.NSSPMode = SPI_NSS_PULSE_ENABLE;
  if (HAL_SPI_Init(&hspi1) != HAL_OK)
  {
    Error_Handler();
  }

}

static void MX_SPI2_Init(void)
{

  /* SPI2 parameter configuration*/
  hspi2.Instance = SPI2;
  hspi2.Init.Mode = SPI_MODE_MASTER;
  hspi2.Init.Direction = SPI_DIRECTION_2LINES;
  hspi2.Init.DataSize = SPI_DATASIZE_8BIT;
  hspi2.Init.CLKPolarity = SPI_POLARITY_HIGH;
  hspi2.Init.CLKPhase = SPI_PHASE_2EDGE;
  hspi2.Init.NSS = SPI_NSS_SOFT;
  hspi2.Init.BaudRatePrescaler = SPI_BAUDRATEPRESCALER_4;
  hspi2.Init.FirstBit = SPI_FIRSTBIT_MSB;
  hspi2.Init.TIMode = SPI_TIMODE_DISABLE;
  hspi2.Init.CRCCalculation = SPI_CRCCALCULATION_DISABLE;
  hspi2.Init.CRCPolynomial = 7;
  hspi2.Init.CRCLength = SPI_CRC_LENGTH_DATASIZE;
  hspi2.Init.NSSPMode = SPI_NSS_PULSE_DISABLE;
  if (HAL_SPI_Init(&hspi2) != HAL_OK)
  {
    Error_Handler();
  }

}

static void MX_TIM1_Init(void)
{

  TIM_ClockConfigTypeDef sClockSourceConfig = {0};
  TIM_MasterConfigTypeDef sMasterConfig = {0};

  htim1.Instance = TIM1;
  htim1.Init.Prescaler = 0;
  htim1.Init.CounterMode = TIM_COUNTERMODE_UP;
  htim1.Init.Period = 6399;
  htim1.Init.ClockDivision = TIM_CLOCKDIVISION_DIV1;
  htim1.Init.RepetitionCounter = 0;
  htim1.Init.AutoReloadPreload = TIM_AUTORELOAD_PRELOAD_ENABLE;
  if (HAL_TIM_Base_Init(&htim1) != HAL_OK)
  {
    Error_Handler();
  }
  sClockSourceConfig.ClockSource = TIM_CLOCKSOURCE_INTERNAL;
  if (HAL_TIM_ConfigClockSource(&htim1, &sClockSourceConfig) != HAL_OK)
  {
    Error_Handler();
  }
  sMasterConfig.MasterOutputTrigger = TIM_TRGO_RESET;
  sMasterConfig.MasterOutputTrigger2 = TIM_TRGO2_RESET;
  sMasterConfig.MasterSlaveMode = TIM_MASTERSLAVEMODE_DISABLE;
  if (HAL_TIMEx_MasterConfigSynchronization(&htim1, &sMasterConfig) != HAL_OK)
  {
    Error_Handler();
  }

}

static void MX_TIM2_Init(void)
{

  TIM_ClockConfigTypeDef sClockSourceConfig = {0};
  TIM_MasterConfigTypeDef sMasterConfig = {0};
  TIM_IC_InitTypeDef sConfigIC = {0};

  htim2.Instance = TIM2;
  htim2.Init.Prescaler = 63;
  htim2.Init.CounterMode = TIM_COUNTERMODE_UP;
  htim2.Init.Period = 0xffffffff-1;
  htim2.Init.ClockDivision = TIM_CLOCKDIVISION_DIV1;
  htim2.Init.AutoReloadPreload = TIM_AUTORELOAD_PRELOAD_DISABLE;
  if (HAL_TIM_Base_Init(&htim2) != HAL_OK)
  {
    Error_Handler();
  }
  sClockSourceConfig.ClockSource = TIM_CLOCKSOURCE_INTERNAL;
  if (HAL_TIM_ConfigClockSource(&htim2, &sClockSourceConfig) != HAL_OK)
  {
    Error_Handler();
  }
  if (HAL_TIM_IC_Init(&htim2) != HAL_OK)
  {
    Error_Handler();
  }
  sMasterConfig.MasterOutputTrigger = TIM_TRGO_RESET;
  sMasterConfig.MasterSlaveMode = TIM_MASTERSLAVEMODE_DISABLE;
  if (HAL_TIMEx_MasterConfigSynchronization(&htim2, &sMasterConfig) != HAL_OK)
  {
    Error_Handler();
  }
  sConfigIC.ICPolarity = TIM_INPUTCHANNELPOLARITY_FALLING;
  sConfigIC.ICSelection = TIM_ICSELECTION_DIRECTTI;
  sConfigIC.ICPrescaler = TIM_ICPSC_DIV1;
  sConfigIC.ICFilter = 15;
  if (HAL_TIM_IC_ConfigChannel(&htim2, &sConfigIC, TIM_CHANNEL_3) != HAL_OK)
  {
    Error_Handler();
  }
  if (HAL_TIM_IC_ConfigChannel(&htim2, &sConfigIC, TIM_CHANNEL_4) != HAL_OK)
  {
    Error_Handler();
  }

}

static void MX_TIM16_Init(void)
{

  htim16.Instance = TIM16;
  htim16.Init.Prescaler = 0;
  htim16.Init.CounterMode = TIM_COUNTERMODE_UP;
  htim16.Init.Period = 31999;
  htim16.Init.ClockDivision = TIM_CLOCKDIVISION_DIV1;
  htim16.Init.RepetitionCounter = 0;
  htim16.Init.AutoReloadPreload = TIM_AUTORELOAD_PRELOAD_ENABLE;
  if (HAL_TIM_Base_Init(&htim16) != HAL_OK)
  {
    Error_Handler();
  }

}

static void MX_TIM17_Init(void)
{

  htim17.Instance = TIM17;
  htim17.Init.Prescaler = 63;
  htim17.Init.CounterMode = TIM_COUNTERMODE_UP;
  htim17.Init.Period = 1000;
  htim17.Init.ClockDivision = TIM_CLOCKDIVISION_DIV1;
  htim17.Init.RepetitionCounter = 0;
  htim17.Init.AutoReloadPreload = TIM_AUTORELOAD_PRELOAD_DISABLE;
  if (HAL_TIM_Base_Init(&htim17) != HAL_OK)
  {
    Error_Handler();
  }

}

static void MX_USART1_UART_Init(void)
{

  huart1.Instance = USART1;
  huart1.Init.BaudRate = 115200;
  huart1.Init.WordLength = UART_WORDLENGTH_8B;
  huart1.Init.StopBits = UART_STOPBITS_1;
  huart1.Init.Parity = UART_PARITY_NONE;
  huart1.Init.Mode = UART_MODE_TX_RX;
  huart1.Init.HwFlowCtl = UART_HWCONTROL_NONE;
  huart1.Init.OverSampling = UART_OVERSAMPLING_16;
  huart1.Init.OneBitSampling = UART_ONE_BIT_SAMPLE_DISABLE;
  huart1.Init.ClockPrescaler = UART_PRESCALER_DIV1;
  huart1.AdvancedInit.AdvFeatureInit = UART_ADVFEATURE_TXINVERT_INIT|UART_ADVFEATURE_RXINVERT_INIT
                              |UART_ADVFEATURE_AUTOBAUDRATE_INIT;
  huart1.AdvancedInit.TxPinLevelInvert = UART_ADVFEATURE_TXINV_ENABLE;
  huart1.AdvancedInit.RxPinLevelInvert = UART_ADVFEATURE_RXINV_ENABLE;
  huart1.AdvancedInit.AutoBaudRateEnable = UART_ADVFEATURE_AUTOBAUDRATE_ENABLE;
  huart1.AdvancedInit.AutoBaudRateMode = UART_ADVFEATURE_AUTOBAUDRATE_ONSTARTBIT;
  if (HAL_UART_Init(&huart1) != HAL_OK)
  {
    Error_Handler();
  }
  if (HAL_UARTEx_SetTxFifoThreshold(&huart1, UART_TXFIFO_THRESHOLD_1_8) != HAL_OK)
  {
    Error_Handler();
  }
  if (HAL_UARTEx_SetRxFifoThreshold(&huart1, UART_RXFIFO_THRESHOLD_1_8) != HAL_OK)
  {
    Error_Handler();
  }
  if (HAL_UARTEx_DisableFifoMode(&huart1) != HAL_OK)
  {
    Error_Handler();
  }
  /* USER CODE BEGIN USART1_Init 2 */
#ifndef USART_MANUAL_CONFIG
#define USART_MANUAL_CONFIG
//#error You regenerated code, make sure our version of this function is still valid.
#endif
  /* USER CODE END USART1_Init 2 */

}

static void MX_DMA_Init(void)
{

  /* DMA controller clock enable */
  __HAL_RCC_DMAMUX1_CLK_ENABLE();
  __HAL_RCC_DMA1_CLK_ENABLE();
  __HAL_RCC_DMA2_CLK_ENABLE();

  /* Configure DMA request hdma_memtomem_dma2_channel1 on DMA2_Channel1 */
  hdma_memtomem_dma2_channel1.Instance = DMA2_Channel1;
  hdma_memtomem_dma2_channel1.Init.Request = DMA_REQUEST_MEM2MEM;
  hdma_memtomem_dma2_channel1.Init.Direction = DMA_MEMORY_TO_MEMORY;
  hdma_memtomem_dma2_channel1.Init.PeriphInc = DMA_PINC_DISABLE;
  hdma_memtomem_dma2_channel1.Init.MemInc = DMA_MINC_ENABLE;
  hdma_memtomem_dma2_channel1.Init.PeriphDataAlignment = DMA_PDATAALIGN_WORD;
  hdma_memtomem_dma2_channel1.Init.MemDataAlignment = DMA_MDATAALIGN_WORD;
  hdma_memtomem_dma2_channel1.Init.Mode = DMA_NORMAL;
  hdma_memtomem_dma2_channel1.Init.Priority = DMA_PRIORITY_LOW;
  if (HAL_DMA_Init(&hdma_memtomem_dma2_channel1) != HAL_OK)
  {
    Error_Handler( );
  }

  /* DMA interrupt init */
  /* DMA1_Channel1_IRQn interrupt configuration */
  HAL_NVIC_SetPriority(DMA1_Channel1_IRQn, 0, 0);
  HAL_NVIC_EnableIRQ(DMA1_Channel1_IRQn);
  /* DMA1_Channel2_IRQn interrupt configuration */
  HAL_NVIC_SetPriority(DMA1_Channel2_IRQn, 0, 0);
  HAL_NVIC_EnableIRQ(DMA1_Channel2_IRQn);
  /* DMA2_Channel1_IRQn interrupt configuration */
  HAL_NVIC_SetPriority(DMA2_Channel1_IRQn, 0, 0);
  HAL_NVIC_EnableIRQ(DMA2_Channel1_IRQn);

}

static void MX_GPIO_Init(void)
{
  GPIO_InitTypeDef GPIO_InitStruct = {0};

  /* GPIO Ports Clock Enable */
  __HAL_RCC_GPIOC_CLK_ENABLE();
  __HAL_RCC_GPIOB_CLK_ENABLE();
  __HAL_RCC_GPIOA_CLK_ENABLE();
  __HAL_RCC_GPIOE_CLK_ENABLE();
  __HAL_RCC_GPIOD_CLK_ENABLE();

  /*Configure GPIO pin Output Level */
  HAL_GPIO_WritePin(GPIOC, GPIO_PIN_13|GPIO2_Pin|GPIO_PIN_6|PWREN_Pin, GPIO_PIN_RESET);

  /*Configure GPIO pin Output Level */
  HAL_GPIO_WritePin(GPIOB, RESET_MOTOR_Pin|DIR_TACH_Pin|DIR_SPEED_Pin|SPI_LCD_nCS_Pin
                          |STEP_TACH_Pin|STEP_SPEED_Pin|SPI_FLASH_nCS_Pin, GPIO_PIN_RESET);

  /*Configure GPIO pin Output Level */
  HAL_GPIO_WritePin(LED_GPIO_Port, LED_Pin, GPIO_PIN_RESET);

  /*Configure GPIO pin Output Level */
  HAL_GPIO_WritePin(GPIOD, STEP_ODO_Pin|DIR_ODO_Pin, GPIO_PIN_RESET);

  /*Configure GPIO pins : PC13 GPIO2_Pin PC6 PWREN_Pin */
  GPIO_InitStruct.Pin = GPIO_PIN_13|GPIO2_Pin|GPIO_PIN_6|PWREN_Pin;
  GPIO_InitStruct.Mode = GPIO_MODE_OUTPUT_PP;
  GPIO_InitStruct.Pull = GPIO_NOPULL;
  GPIO_InitStruct.Speed = GPIO_SPEED_FREQ_LOW;
  HAL_GPIO_Init(GPIOC, &GPIO_InitStruct);

  /*Configure GPIO pins : INT_ACC_Pin INT_GYR_Pin */
  GPIO_InitStruct.Pin = INT_ACC_Pin|INT_GYR_Pin;
  GPIO_InitStruct.Mode = GPIO_MODE_IT_RISING;
  GPIO_InitStruct.Pull = GPIO_NOPULL;
  HAL_GPIO_Init(GPIOC, &GPIO_InitStruct);

  /*Configure GPIO pins : PA0 PA1 PA2 PA3 */
  GPIO_InitStruct.Pin = GPIO_PIN_0|GPIO_PIN_1|GPIO_PIN_2|GPIO_PIN_3;
  GPIO_InitStruct.Mode = GPIO_MODE_ANALOG;
  GPIO_InitStruct.Pull = GPIO_NOPULL;
  HAL_GPIO_Init(GPIOA, &GPIO_InitStruct);

  /*Configure GPIO pin : IGN_Pin */
  GPIO_InitStruct.Pin = IGN_Pin;
  GPIO_InitStruct.Mode = GPIO_MODE_INPUT;
  GPIO_InitStruct.Pull = GPIO_PULLDOWN;
  HAL_GPIO_Init(IGN_GPIO_Port, &GPIO_InitStruct);

  /*Configure GPIO pins : RESET_MOTOR_Pin DIR_TACH_Pin DIR_SPEED_Pin SPI_LCD_nCS_Pin
                           STEP_TACH_Pin STEP_SPEED_Pin SPI_FLASH_nCS_Pin */
  GPIO_InitStruct.Pin = RESET_MOTOR_Pin|DIR_TACH_Pin|DIR_SPEED_Pin|SPI_LCD_nCS_Pin
                          |STEP_TACH_Pin|STEP_SPEED_Pin|SPI_FLASH_nCS_Pin;
  GPIO_InitStruct.Mode = GPIO_MODE_OUTPUT_PP;
  GPIO_InitStruct.Pull = GPIO_NOPULL;
  GPIO_InitStruct.Speed = GPIO_SPEED_FREQ_LOW;
  HAL_GPIO_Init(GPIOB, &GPIO_InitStruct);

  /*Configure GPIO pin : GPIO0_Pin */
  GPIO_InitStruct.Pin = GPIO0_Pin;
  GPIO_InitStruct.Mode = GPIO_MODE_INPUT;
  GPIO_InitStruct.Pull = GPIO_NOPULL;
  HAL_GPIO_Init(GPIO0_GPIO_Port, &GPIO_InitStruct);

  /*Configure GPIO pin : LED_Pin */
  GPIO_InitStruct.Pin = LED_Pin;
  GPIO_InitStruct.Mode = GPIO_MODE_OUTPUT_PP;
  GPIO_InitStruct.Pull = GPIO_NOPULL;
  GPIO_InitStruct.Speed = GPIO_SPEED_FREQ_LOW;
  HAL_GPIO_Init(LED_GPIO_Port, &GPIO_InitStruct);

  /*Configure GPIO pins : PC11 GPIO1_Pin */
  GPIO_InitStruct.Pin = GPIO_PIN_11|GPIO1_Pin;
  GPIO_InitStruct.Mode = GPIO_MODE_INPUT;
  GPIO_InitStruct.Pull = GPIO_NOPULL;
  HAL_GPIO_Init(GPIOC, &GPIO_InitStruct);

  /*Configure GPIO pins : STEP_ODO_Pin DIR_ODO_Pin */
  GPIO_InitStruct.Pin = STEP_ODO_Pin|DIR_ODO_Pin;
  GPIO_InitStruct.Mode = GPIO_MODE_OUTPUT_PP;
  GPIO_InitStruct.Pull = GPIO_NOPULL;
  GPIO_InitStruct.Speed = GPIO_SPEED_FREQ_LOW;
  HAL_GPIO_Init(GPIOD, &GPIO_InitStruct);

  /*Configure GPIO pin : PB7 */
  GPIO_InitStruct.Pin = GPIO_PIN_7;
  GPIO_InitStruct.Mode = GPIO_MODE_INPUT;
  GPIO_InitStruct.Pull = GPIO_NOPULL;
  HAL_GPIO_Init(GPIOB, &GPIO_InitStruct);

  /* EXTI interrupt init*/
  HAL_NVIC_SetPriority(EXTI2_IRQn, 0, 0);
  HAL_NVIC_EnableIRQ(EXTI2_IRQn);

  HAL_NVIC_SetPriority(EXTI3_IRQn, 0, 0);
  HAL_NVIC_EnableIRQ(EXTI3_IRQn);

}

void Error_Handler(void)
{
  __disable_irq();
  while (1)
  {
  }
}
